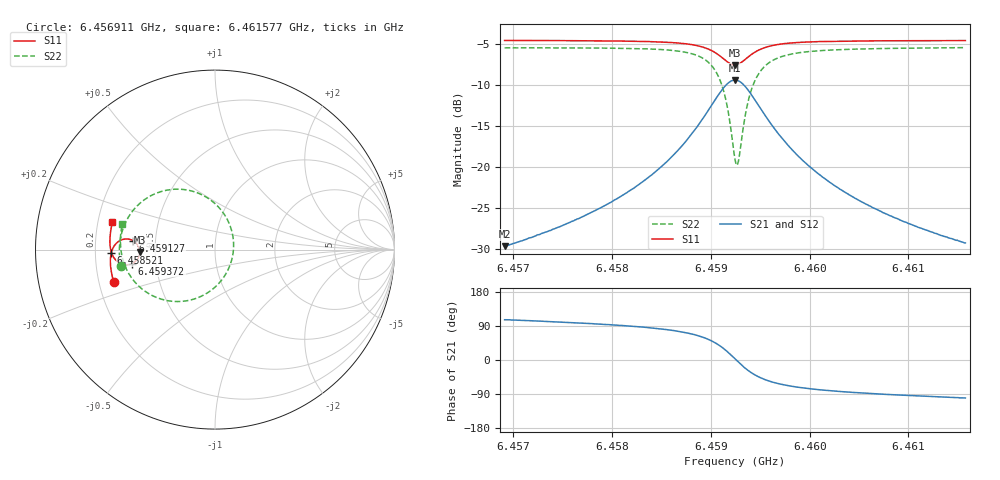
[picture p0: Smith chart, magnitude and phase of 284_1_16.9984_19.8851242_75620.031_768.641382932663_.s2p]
#  HZ  S  RI  R  50.00
! Rohde & Schwarz Vector Network Analyzer
! Rohde-Schwarz,ZNB20-2Port,1311601062101988,3.16
! Created: UTC 3/20/2024, 11:04:48 PM
! freq[Hz]  re:S11  im:S11  re:S21  im:S21  re:S12  im:S12  re:S22  im:S22
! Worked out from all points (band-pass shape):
!   401 points, 6.456911 GHz to 6.461577 GHz, reference 50 ohm
!   highest |S21| = -9.37 dB at 6.459244 GHz (marker M1); lowest = -29.6 dB at 6.456911 GHz (marker M2)
!   |S21| within 3 dB of the highest: 6.459011 GHz to 6.459477 GHz (466.4 kHz wide, 0.00722 % of centre)
!   lowest |S11| = -7.5 dB at 6.459244 GHz (marker M3), VSWR 2.45, Z = 20.4 - j0.623 ohm
!   |S11| at or under -10 dB: nowhere
!   |S22| runs from -19.7 to -5.4 dB; largest |S21 - S12| = 0.013
!   S11 on the Smith chart (normalised r, x): 6.456911 GHz: 0.26, -0.14; 6.458521 GHz: 0.27, -0.02; 6.459127 GHz: 0.37, +0.05; 6.459372 GHz: 0.37, -0.07; 6.461577 GHz: 0.26, +0.12
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6.4569107e9  -0.5649 -0.1778  -0.00927 0.0318  -0.00766 0.0318  -0.5255 -0.0924
6.4576923e9  -0.5796 -0.1098  -0.00622 0.0495  -0.00373 0.0489  -0.5328 -0.00266
6.4581239e9  -0.583 -0.0668  -0.000552 0.0687  0.00259 0.0674  -0.5261 0.0644
6.4584739e9  -0.5797 -0.0253  0.0126 0.0973  0.0166 0.0947  -0.5026 0.1419
6.4585206e9  -0.5783 -0.0192  0.016 0.1027  0.0199 0.0998  -0.4965 0.155
6.4587422e9  -0.5653 0.0148  0.0436 0.1362  0.0477 0.1316  -0.4456 0.231
6.4588939e9  -0.543 0.0412  0.0878 0.1669  0.0911 0.1604  -0.3648 0.296
6.4590338e9  -0.4998 0.0591  0.1734 0.1841  0.1744 0.1769  -0.2093 0.3367
6.4591272e9  -0.4557 0.0493  0.2622 0.1544  0.2625 0.1485  -0.0454 0.2903
6.4591738e9  -0.4347 0.0308  0.3057 0.1128  0.3069 0.1075  0.0372 0.2167
6.4592438e9  -0.4199 -0.0126  0.3395 0.0177  0.3429 0.011  0.1034 0.0419
6.4592672e9  -0.4215 -0.0285  0.3377 -0.0171  0.3415 -0.0252  0.1003 -0.0238
6.4592788e9  -0.4236 -0.0359  0.3343 -0.034  0.3381 -0.0428  0.0938 -0.0556
6.4593255e9  -0.4389 -0.0617  0.3069 -0.0933  0.309 -0.1047  0.0392 -0.1671
6.4593722e9  -0.4607 -0.0778  0.2659 -0.1342  0.2652 -0.1469  -0.0428 -0.2415
6.4594655e9  -0.5036 -0.0845  0.1828 -0.1656  0.177 -0.1769  -0.2071 -0.2895
6.4596171e9  -0.5469 -0.0642  0.0963 -0.1529  0.0881 -0.1591  -0.3718 -0.2437
6.4597805e9  -0.5683 -0.0367  0.0517 -0.1259  0.0444 -0.1289  -0.4518 -0.1742
6.4600254e9  -0.581 -0.00118  0.0228 -0.0953  0.0172 -0.096  -0.5002 -0.0939
6.4603638e9  -0.5856 0.0389  0.00712 -0.0698  0.00306 -0.0695  -0.5219 -0.0181
6.4608071e9  -0.5836 0.0833  -0.000976 -0.0509  -0.00384 -0.0502  -0.5272 0.0517
6.461577e9  -0.5715 0.1511  -0.00615 -0.0341  -0.00787 -0.0331  -0.5166 0.1413
